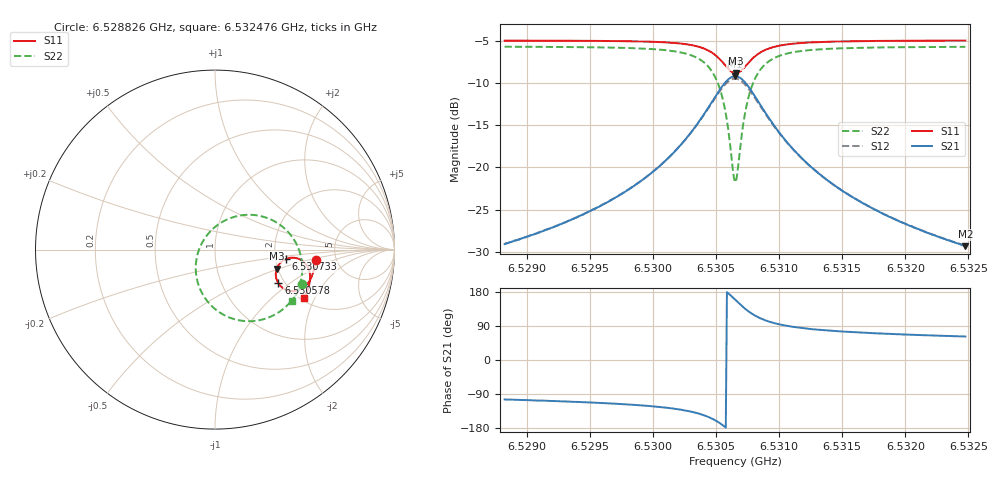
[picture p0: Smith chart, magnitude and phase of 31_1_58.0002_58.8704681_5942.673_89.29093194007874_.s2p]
#  HZ  S  RI  R  50.00
! Rohde & Schwarz Vector Network Analyzer
! Rohde-Schwarz,ZNB20-2Port,1311601062101988,3.16
! Created: UTC 3/21/2024, 12:51:40 AM
! freq[Hz]  re:S11  im:S11  re:S21  im:S21  re:S12  im:S12  re:S22  im:S22
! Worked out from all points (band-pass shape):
!   401 points, 6.528826 GHz to 6.532476 GHz, reference 50 ohm
!   highest |S21| = -9.19 dB at 6.530651 GHz (marker M1); lowest = -29.3 dB at 6.532476 GHz (marker M2)
!   |S21| within 3 dB of the highest: 6.53047 GHz to 6.530835 GHz (365 kHz wide, 0.00559 % of centre)
!   lowest |S11| = -8.9 dB at 6.53066 GHz (marker M3), VSWR 2.13, Z = 98.7 - j23.9 ohm
!   |S11| at or under -10 dB: nowhere
!   |S22| runs from -21.8 to -5.7 dB; largest |S21 - S12| = 0.015
!   S11 on the Smith chart (normalised r, x): 6.528826 GHz: 3.47, -0.61; 6.530578 GHz: 1.85, -0.82; 6.530733 GHz: 2.28, -0.28; 6.532476 GHz: 2.08, -1.66
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6.5288259e9  0.5608 -0.0594  -0.00847 -0.0341  -0.00935 -0.0339  0.4821 -0.1924
6.5294372e9  0.5513 -0.1125  -0.0189 -0.0486  -0.0201 -0.0483  0.4491 -0.2541
6.5297657e9  0.5409 -0.1453  -0.0315 -0.0632  -0.0334 -0.0624  0.4158 -0.2973
6.5300486e9  0.5234 -0.1791  -0.0562 -0.0841  -0.0587 -0.0825  0.3604 -0.3459
6.5302676e9  0.4933 -0.2113  -0.1033 -0.1077  -0.1069 -0.1039  0.2648 -0.3894
6.5304227e9  0.4435 -0.2307  -0.1835 -0.1146  -0.1862 -0.1064  0.1181 -0.3905
6.5305139e9  0.3918 -0.2219  -0.2648 -0.081  -0.2629 -0.0691  -0.0159 -0.3167
6.5305504e9  0.3685 -0.2057  -0.2994 -0.0464  -0.2944 -0.0338  -0.0676 -0.2509
6.5305778e9  0.3529 -0.187  -0.3213 -0.00925  -0.3129 0.00248  -0.0959 -0.1845
6.5306326e9  0.3388 -0.1341  -0.3336 0.0875  -0.3205 0.0941  -0.0963 -0.0224
6.5306508e9  0.3417 -0.1149  -0.325 0.1216  -0.3113 0.1257  -0.0754 0.0316
6.5306599e9  0.3446 -0.1054  -0.3182 0.1379  -0.3045 0.1408  -0.0609 0.0568
6.5306782e9  0.3533 -0.0878  -0.2999 0.1677  -0.2867 0.1681  -0.0256 0.1023
6.5306964e9  0.3651 -0.073  -0.2768 0.1928  -0.2648 0.1912  0.0169 0.1389
6.5307329e9  0.3942 -0.0527  -0.2232 0.2259  -0.2142 0.222  0.1113 0.1836
6.5307968e9  0.4446 -0.0458  -0.1348 0.2366  -0.1302 0.2323  0.2609 0.1851
6.530888e9  0.4914 -0.0662  -0.0553 0.2052  -0.0536 0.2027  0.3904 0.115
6.5310249e9  0.5201 -0.1039  -0.00661 0.1525  -0.00541 0.1516  0.4645 0.00814
6.5312622e9  0.53 -0.151  0.0151 0.0982  0.016 0.0979  0.4862 -0.1043
6.5315359e9  0.5267 -0.1872  0.0186 0.0674  0.0198 0.0672  0.4784 -0.175
6.5318735e9  0.5174 -0.2212  0.0183 0.0474  0.0192 0.0473  0.4616 -0.2278
6.5324757e9  0.4966 -0.2702  0.0161 0.0301  0.0167 0.0299  0.4302 -0.2888
